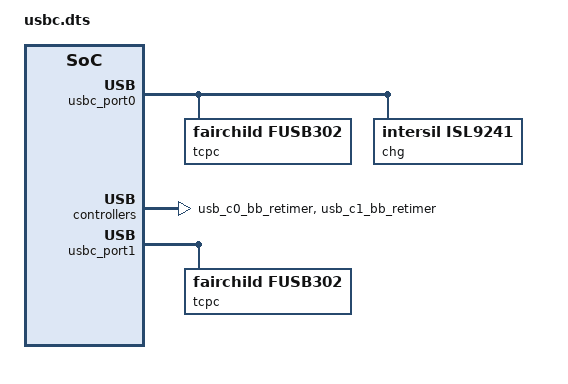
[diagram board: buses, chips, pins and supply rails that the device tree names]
/* Copyright 2022 The Chromium OS Authors. All rights reserved.
 * Use of this source code is governed by a BSD-style license that can be
 * found in the LICENSE file.
 */

/ {
	usbc {
		#address-cells = <1>;
		#size-cells = <0>;
		usbc_port0: port0@0 {
			compatible = "named-usbc-port";
			reg = <0>;
			tcpc {
				compatible = "fairchild,fusb302";
				status = "okay";
				port = <&typec_0>;
				i2c-addr-flags = "FUSB302_I2C_ADDR_FLAGS";
			};
			chg {
				compatible = "intersil,isl9241";
				status = "okay";
				port = <&i2c_charger>;
			};
			usb-muxes = <&usb_c0_bb_retimer &virtual_mux_c0>;
		};
		port0-muxes {
			usb_c0_bb_retimer: jhl8040r-c0 {
				compatible = "intel,jhl8040r";
				port = <&typec_0>;
				i2c-addr-flags = <0x56>;
				reset-pin = <&usb_c0_bb_retimer_rst>;
				ls-en-pin = <&usb_c0_bb_retimer_ls_en>;
			};
			virtual_mux_c0: virtual-mux-c0 {
				compatible = "cros-ec,usbc-mux-virtual";
			};
		};

		usbc_port1: port1@1 {
			compatible = "named-usbc-port";
			reg = <1>;
			tcpc {
				compatible = "fairchild,fusb302";
				status = "okay";
				port = <&typec_1>;
				i2c-addr-flags = "FUSB302_I2C_ADDR_FLAGS";
			};
			usb-muxes = <&usb_c1_bb_retimer &virtual_mux_c1>;
		};
		port1-muxes {
			usb_c1_bb_retimer: jhl8040r-c1 {
				compatible = "intel,jhl8040r";
				port = <&typec_1>;
				i2c-addr-flags = <0x57>;
				reset-pin = <&usb_c1_bb_retimer_rst>;
				ls-en-pin = <&usb_c1_bb_retimer_ls_en>;
			};
			virtual_mux_c1: virtual-mux-c1 {
				compatible = "cros-ec,usbc-mux-virtual";
			};
		};
	};
};
